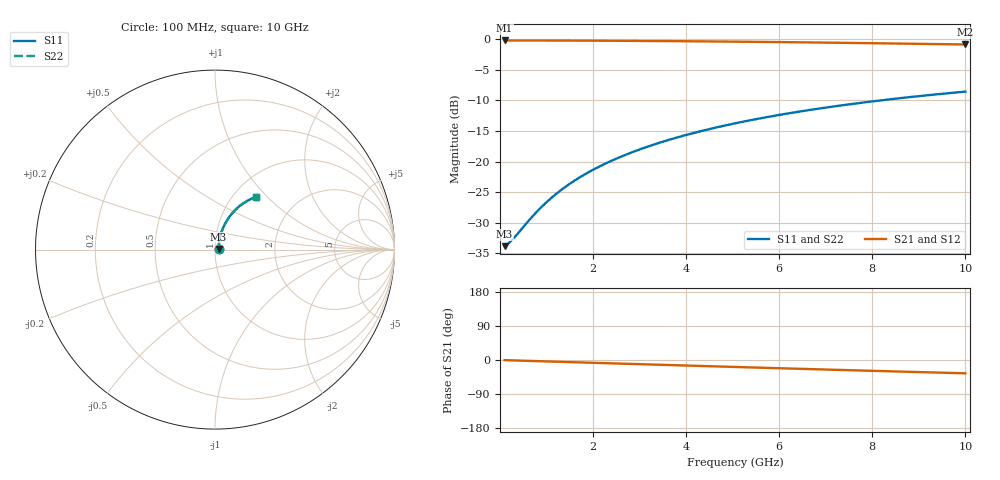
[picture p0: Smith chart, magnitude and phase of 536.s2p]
# Hz S RI R 50.00
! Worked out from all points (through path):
!   100 points, 100 MHz to 10 GHz, reference 50 ohm
!   highest |S21| = -0.17 dB at 100 MHz (marker M1); lowest = -0.8 dB at 10 GHz (marker M2)
!   group delay of S21, straight-line fit = 9.78 ps
!   lowest |S11| = -33.9 dB at 100 MHz (marker M3), VSWR 1.04, Z = 52 + j0.421 ohm
!   |S11| at or under -10 dB: start of sweep to 8.172 GHz
!   |S22| runs from -33.9 to -8.6 dB; largest |S21 - S12| = 0
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1e8  0.0199 0.00405  0.9801 -0.00631  0.9801 -0.00631  0.0199 0.00405
2e8  0.0201 0.00809  0.9799 -0.0126  0.9799 -0.0126  0.0201 0.00809
3e8  0.0203 0.0121  0.9797 -0.0189  0.9797 -0.0189  0.0203 0.0121
7e8  0.0216 0.0283  0.9783 -0.0441  0.9783 -0.0441  0.0216 0.0283
8e8  0.022 0.0323  0.9778 -0.0503  0.9778 -0.0503  0.022 0.0323
1e9  0.023 0.0403  0.9767 -0.0629  0.9767 -0.0629  0.023 0.0403
1.2e9  0.0243 0.0483  0.9753 -0.0754  0.9753 -0.0754  0.0243 0.0483
1.4e9  0.0257 0.0562  0.9738 -0.0878  0.9738 -0.0878  0.0257 0.0562
1.6e9  0.0273 0.0641  0.972 -0.1002  0.972 -0.1002  0.0273 0.0641
1.8e9  0.0291 0.0719  0.9701 -0.1126  0.9701 -0.1126  0.0291 0.0719
2.1e9  0.0321 0.0836  0.9667 -0.131  0.9667 -0.131  0.0321 0.0836
2.5e9  0.0369 0.0989  0.9614 -0.1554  0.9614 -0.1554  0.0369 0.0989
2.9e9  0.0424 0.1139  0.9554 -0.1794  0.9554 -0.1794  0.0424 0.1139
3.4e9  0.0503 0.1321  0.9466 -0.209  0.9466 -0.209  0.0503 0.1321
3.8e9  0.0574 0.1463  0.9387 -0.2322  0.9387 -0.2322  0.0574 0.1463
4.2e9  0.0652 0.16  0.9301 -0.255  0.9301 -0.255  0.0652 0.16
5.1e9  0.085 0.189  0.9082 -0.3045  0.9082 -0.3045  0.085 0.189
5.9e9  0.1049 0.2125  0.8859 -0.3463  0.8859 -0.3463  0.1049 0.2125
6.7e9  0.1267 0.2337  0.8614 -0.3858  0.8614 -0.3858  0.1267 0.2337
7.5e9  0.1501 0.2524  0.8349 -0.4229  0.8349 -0.4229  0.1501 0.2524
8.4e9  0.178 0.2704  0.8032 -0.4616  0.8032 -0.4616  0.178 0.2704
1e10  0.2301 0.2942  0.743 -0.5225  0.743 -0.5225  0.2301 0.2942
